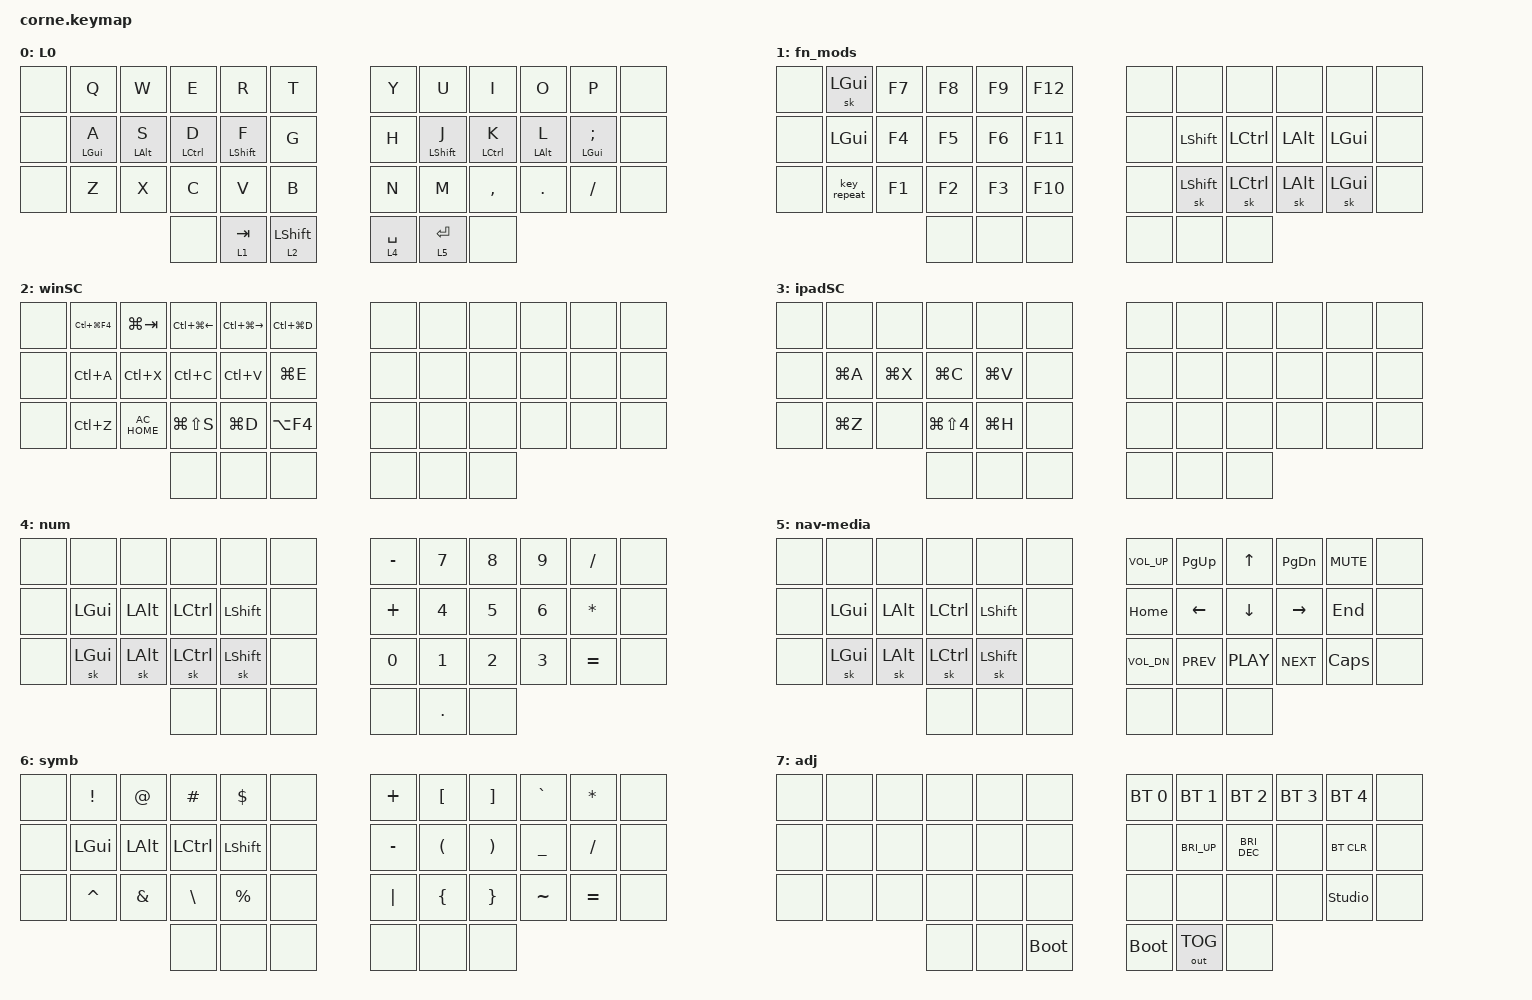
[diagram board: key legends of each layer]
#undef ZMK_BEHAVIORS_KEEP_ALL

#define ZMK_BEHAVIORS_KEEP_SK
#define ZMK_BEHAVIORS_KEEP_MT
#define ZMK_BEHAVIORS_KEEP_KT

#include <behaviors.dtsi>
#include <dt-bindings/zmk/bt.h>
#include <dt-bindings/zmk/keys.h>
#include <dt-bindings/zmk/outputs.h>

&sk {
    quick-release;
    release-after-ms = <1500>;
};

/ {
    combos {
        compatible = "zmk,combos";

        escL {
            timeout-ms = <40>;
            bindings = <&kp ESCAPE>;
            key-positions = <3 4>;
            require-prior-idle-ms = <100>;
            layers = <0>;
        };

        adjL {
            timeout-ms = <300>;
            bindings = <&mo 7>;
            key-positions = <5 1>;
            layers = <0>;
        };

        backR {
            bindings = <&kp BACKSPACE>;
            key-positions = <19 20>;
            timeout-ms = <40>;
            require-prior-idle-ms = <100>;
            layers = <0 4 6 5>;
        };

        backL {
            bindings = <&kp BACKSPACE>;
            key-positions = <16 15>;
            timeout-ms = <40>;
            require-prior-idle-ms = <100>;
            layers = <0 4 6 5>;
        };

        questionR {
            bindings = <&kp QUESTION>;
            key-positions = <33 32>;
            timeout-ms = <40>;
            require-prior-idle-ms = <100>;
            layers = <0>;
        };

        wordDel {
            bindings = <&kp LC(BACKSPACE)>;
            key-positions = <15 14>;
            timeout-ms = <40>;
            require-prior-idle-ms = <100>;
            layers = <0 4 6 5>;
        };

        delR {
            bindings = <&kp DELETE>;
            key-positions = <31 32>;
            timeout-ms = <40>;
            require-prior-idle-ms = <100>;
            layers = <0 4 6 5>;
        };

        wordDelR {
            bindings = <&kp LC(BACKSPACE)>;
            key-positions = <20 21>;
            timeout-ms = <40>;
            require-prior-idle-ms = <100>;
            layers = <0 4 6 5>;
        };

        capsWord {
            bindings = <&caps_word>;
            key-positions = <16 19>;
            timeout-ms = <150>;
            require-prior-idle-ms = <100>;
            layers = <0>;
        };

        delL {
            bindings = <&kp DELETE>;
            key-positions = <27 28>;
            timeout-ms = <40>;
            require-prior-idle-ms = <100>;
            layers = <0 4 6 5>;
        };

        toSym {
            bindings = <&mo 6>;
            key-positions = <37 40>;
            timeout-ms = <50>;
            slow-release;
            require-prior-idle-ms = <100>;
            layers = <0>;
        };

        toIpadSC {
            bindings = <&mo 3>;
            key-positions = <38 39>;
            timeout-ms = <50>;
            slow-release;
            require-prior-idle-ms = <100>;
            layers = <0>;
        };

        aphos {
            bindings = <&kp SQT>;
            key-positions = <8 9>;
            timeout-ms = <40>;
            require-prior-idle-ms = <100>;
            layers = <0>;
        };

        sleep {
            bindings = <&kp K_SLEEP>;
            key-positions = <13 16 17>;
            timeout-ms = <100>;
            require-prior-idle-ms = <100>;
            layers = <0>;
        };
    };

    behaviors {
        hmr: hmr {
            compatible = "zmk,behavior-hold-tap";
            #binding-cells = <2>;
            label = "hmr";
            bindings = <&kp>, <&kp>;

            tapping-term-ms = <280>;
            hold-trigger-key-positions = <0 1 2 3 4 5 12 13 14 15 16 17 24 25 26 27 28 29 36 37 38 39 40 41>;
            hold-trigger-on-release;             // delay positional check until key-release
            flavor = "balanced";
            require-prior-idle-ms = <150>;
            require-prior-idle-ms = <150>;
            quick-tap-ms = <175>;
        };

        hml: hml {
            compatible = "zmk,behavior-hold-tap";
            #binding-cells = <2>;
            label = "hml";
            bindings = <&kp>, <&kp>;

            tapping-term-ms = <280>;
            hold-trigger-key-positions = <6 7 8 9 10 11 18 19 20 21 22 23 30 31 32 33 34 35 39 40 41 36 37 38>;
            hold-trigger-on-release;
            flavor = "balanced";
            require-prior-idle-ms = <150>;
            quick-tap-ms = <175>;
        };

        stickShiftlt: stickShiftlt {
            compatible = "zmk,behavior-hold-tap";
            label = "STICKSHIFTLT";
            bindings = <&mo>, <&sk>;

            #binding-cells = <2>;
            tapping-term-ms = <200>;
            flavor = "balanced";
            retro-tap;
        };

        keyrepeatMo: keyrepeatMo {
            compatible = "zmk,behavior-hold-tap";
            label = "KEYREPEATMO";
            bindings = <&mo>, <&key_repeat>;

            #binding-cells = <2>;
            tapping-term-ms = <200>;
            flavor = "balanced";
            retro-tap;
        };
    };

    macros {
        minimize: minimize {
            compatible = "zmk,behavior-macro";
            #binding-cells = <0>;
            bindings = <&kp LA(SPACE)>, <&macro_wait_time 200>, <&kp N>;

            label = "MINIMIZE";
        };

        dt1: dt1 {
            compatible = "zmk,behavior-macro";
            #binding-cells = <0>;
            bindings =
                <&kp LC(LG(LEFT))>,
                <&macro_wait_time 25>,
                <&kp LC(LG(LEFT))>,
                <&macro_wait_time 25>,
                <&kp LG(LC(LEFT))>;

            label = "DT1";
        };

        dt2: dt2 {
            compatible = "zmk,behavior-macro";
            #binding-cells = <0>;
            bindings =
                <&kp LC(LG(LEFT))>,
                <&macro_wait_time 25>,
                <&kp LC(LG(LEFT))>,
                <&macro_wait_time 25>,
                <&kp LG(LC(LEFT))>,
                <&macro_wait_time 25>,
                <&kp LC(LG(RIGHT))>;

            label = "DT2";
        };

        dt3: dt3 {
            compatible = "zmk,behavior-macro";
            #binding-cells = <0>;
            bindings =
                <&kp LC(LG(LEFT))>,
                <&macro_wait_time 25>,
                <&kp LC(LG(LEFT))>,
                <&macro_wait_time 25>,
                <&kp LG(LC(LEFT))>,
                <&macro_wait_time 25>,
                <&kp LC(LG(RIGHT))>,
                <&macro_wait_time 25>,
                <&kp LC(LG(RIGHT))>;

            label = "DT3";
        };

        dt4: dt4 {
            compatible = "zmk,behavior-macro";
            #binding-cells = <0>;
            bindings =
                <&kp LC(LG(LEFT))>,
                <&macro_wait_time 25>,
                <&kp LC(LG(LEFT))>,
                <&macro_wait_time 25>,
                <&kp LG(LC(LEFT))>,
                <&macro_wait_time 25>,
                <&kp LC(LG(RIGHT))>,
                <&macro_wait_time 25>,
                <&kp LC(LG(RIGHT))>,
                <&macro_wait_time 25>,
                <&kp LC(LG(RIGHT))>;

            label = "DT4";
        };
    };

    keymap {
        compatible = "zmk,keymap";

        L0 {
            bindings = <
&none  &kp Q            &kp W            &kp E                &kp R              &kp T                         &kp Y        &kp U              &kp I                &kp O            &kp P                    &none
&none  &hml LEFT_GUI A  &hml LEFT_ALT S  &hml LEFT_CONTROL D  &hml LEFT_SHIFT F  &kp G                         &kp H        &hmr LEFT_SHIFT J  &hmr LEFT_CONTROL K  &hmr LEFT_ALT L  &hmr LEFT_GUI SEMICOLON  &none
&none  &kp Z            &kp X            &kp C                &kp V              &kp B                         &kp N        &kp M              &kp COMMA            &kp DOT          &kp SLASH                &none
                                         &none                &lt 1 TAB          &stickShiftlt 2 LEFT_SHIFT    &lt 4 SPACE  &lt 5 RET          &none
            >;
        };

        fn_mods {
            bindings = <
&none  &sk LEFT_GUI  &kp F7  &kp F8  &kp F9  &kp F12    &none  &none           &none      &none     &none         &none
&none  &kp LEFT_GUI  &kp F4  &kp F5  &kp F6  &kp F11    &none  &kp LEFT_SHIFT  &kp LCTRL  &kp LALT  &kp LEFT_GUI  &none
&none  &key_repeat   &kp F1  &kp F2  &kp F3  &kp F10    &none  &sk LEFT_SHIFT  &sk LCTRL  &sk LALT  &sk LEFT_GUI  &none
                             &none   &none   &none      &none  &none           &none
            >;
        };

        winSC {
            bindings = <
&none  &kp LC(LG(F4))  &kp LG(TAB)    &kp LC(LG(LEFT))  &kp LC(LG(RIGHT))  &kp LC(LG(D))    &none  &none  &none  &none  &none  &none
&none  &kp LC(A)       &kp LC(X)      &kp LC(C)         &kp LC(V)          &kp LG(E)        &none  &none  &none  &none  &none  &none
&none  &kp LC(Z)       &kp C_AC_HOME  &kp LG(LS(S))     &kp LG(D)          &kp LA(F4)       &none  &none  &none  &none  &none  &none
                                      &none             &none              &none            &none  &none  &none
            >;
        };

        ipadSC {
            bindings = <
&none  &none      &none      &none                 &none      &none    &none  &none  &none  &none  &none  &none
&none  &kp LG(A)  &kp LG(X)  &kp LG(C)             &kp LG(V)  &none    &none  &none  &none  &none  &none  &none
&none  &kp LG(Z)  &none      &kp LG(LS(NUMBER_4))  &kp LG(H)  &none    &none  &none  &none  &none  &none  &none
                             &none                 &none      &none    &none  &none  &none
            >;
        };

        num {
            bindings = <
&none  &none         &none     &none      &none           &none    &kp MINUS  &kp N7      &kp N8  &kp N9  &kp SLASH  &none
&none  &kp LEFT_GUI  &kp LALT  &kp LCTRL  &kp LEFT_SHIFT  &none    &kp PLUS   &kp N4      &kp N5  &kp N6  &kp STAR   &none
&none  &sk LEFT_GUI  &sk LALT  &sk LCTRL  &sk LEFT_SHIFT  &none    &kp N0     &kp N1      &kp N2  &kp N3  &kp EQUAL  &none
                               &none      &none           &none    &none      &kp PERIOD  &none
            >;
        };

        nav-media {
            bindings = <
&none  &none         &none     &none      &none           &none    &kp C_VOL_UP  &kp PG_UP   &kp UP      &kp PG_DN   &kp C_MUTE  &none
&none  &kp LEFT_GUI  &kp LALT  &kp LCTRL  &kp LEFT_SHIFT  &none    &kp HOME      &kp LEFT    &kp DOWN    &kp RIGHT   &kp END     &none
&none  &sk LEFT_GUI  &sk LALT  &sk LCTRL  &sk LEFT_SHIFT  &none    &kp C_VOL_DN  &kp C_PREV  &kp C_PLAY  &kp C_NEXT  &kp CAPS    &none
                               &none      &none           &none    &none         &none       &none
            >;
        };

        symb {
            bindings = <
&none  &kp EXCL      &kp AT    &kp HASH       &kp DLLR        &none    &kp PLUS   &kp LEFT_BRACKET      &kp RIGHT_BRACKET      &kp GRAVE  &kp STAR   &none
&none  &kp LEFT_GUI  &kp LALT  &kp LCTRL      &kp LEFT_SHIFT  &none    &kp MINUS  &kp LEFT_PARENTHESIS  &kp RIGHT_PARENTHESIS  &kp UNDER  &kp SLASH  &none
&none  &kp CARET     &kp AMPS  &kp BACKSLASH  &kp PERCENT     &none    &kp PIPE   &kp LEFT_BRACE        &kp RIGHT_BRACE        &kp TILDE  &kp EQUAL  &none
                               &none          &none           &none    &none      &none                 &none
            >;
        };

        adj {
            bindings = <
&none  &none  &none  &none  &none  &none          &bt BT_SEL 0  &bt BT_SEL 1  &bt BT_SEL 2   &bt BT_SEL 3  &bt BT_SEL 4    &none
&none  &none  &none  &none  &none  &none          &none         &kp C_BRI_UP  &kp C_BRI_DEC  &none         &bt BT_CLR      &none
&none  &none  &none  &none  &none  &none          &none         &none         &none          &none         &studio_unlock  &none
                     &none  &none  &bootloader    &bootloader   &out OUT_TOG  &none
            >;
        };
    };
};
